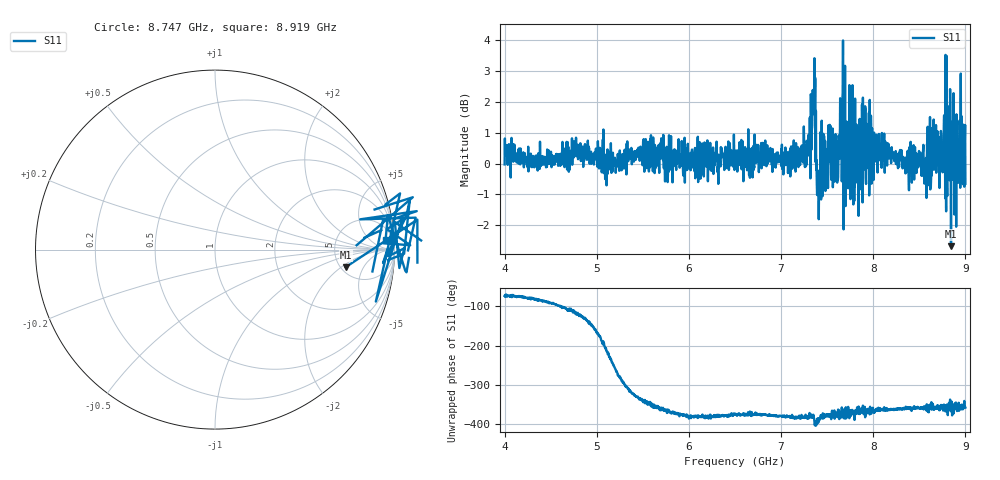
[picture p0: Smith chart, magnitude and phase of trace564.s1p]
! Created with skrf 1.8.0 (http://scikit-rf.org).
# Hz S RI R 50.0
!freq ReS11 ImS11
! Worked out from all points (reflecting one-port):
!   1601 points, 4 GHz to 9 GHz, reference 50 ohm
!   lowest |S11| = -2.7 dB at 8.844 GHz (marker M1), VSWR 6.52, Z = 275 - j117 ohm
!   phase of S11 starts at -73 deg and turns -284 deg over the sweep
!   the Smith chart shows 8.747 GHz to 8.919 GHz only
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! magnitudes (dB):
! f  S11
! 4 GHz  0.0
! 4.625 GHz  0.3
! 4.762 GHz  0.6
! 5.25 GHz  0.4
! 5.706 GHz  0.3
! 5.753 GHz  -0.3
! 5.875 GHz  0.1
! 6.5 GHz  0.3
! 7.125 GHz  0.1
! 7.294 GHz  0.8
! 7.347 GHz  2.0
! 7.366 GHz  1.9
! 7.4 GHz  -0.7
! 7.412 GHz  -0.6
! 7.512 GHz  1.2
! 7.606 GHz  -0.4
! 7.647 GHz  1.8
! 7.691 GHz  -0.4
! 7.703 GHz  0.8
! 7.75 GHz  -0.6
! 7.988 GHz  1.1
! 8.375 GHz  0.1
! 8.603 GHz  0.0
! 8.788 GHz  -0.6
! 8.844 GHz  -2.7
! 8.906 GHz  0.7
! 8.972 GHz  0.3
! 9 GHz  -0.7
